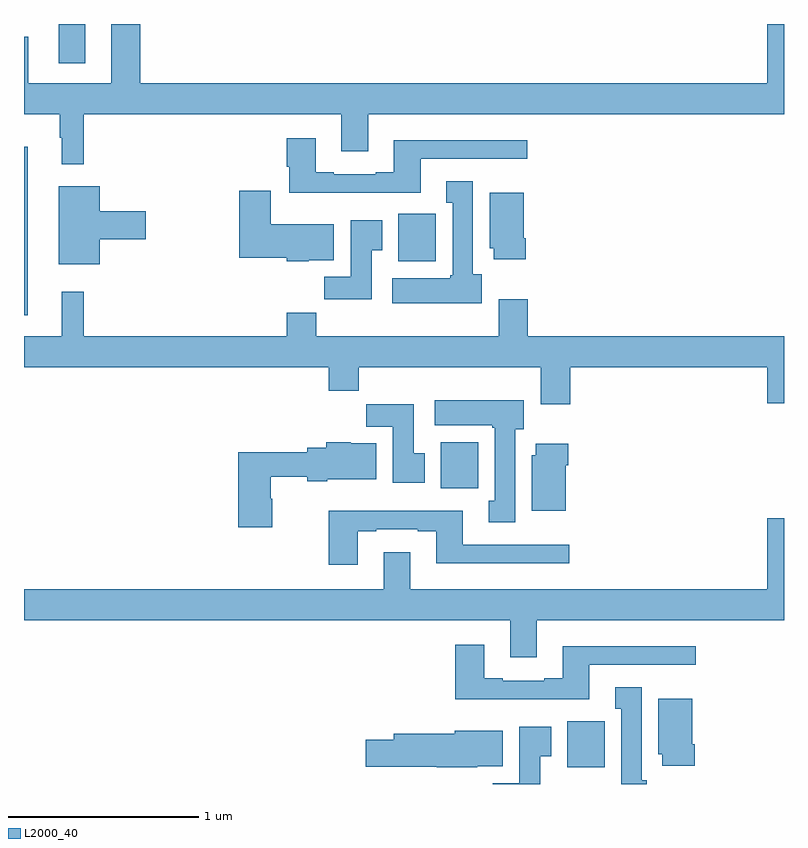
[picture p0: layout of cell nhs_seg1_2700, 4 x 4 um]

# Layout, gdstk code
import gdstk
lib = gdstk.Library(unit=1e-6, precision=1e-09)
def R(c, l, rs):  # rectangles x0, y0, x1, y1
    for r in rs: c.add(gdstk.rectangle(r[:2], r[2:], *l))
def P(c, l, *ps):  # polygons
    for p in ps: c.add(gdstk.Polygon(p, *l))
L2000_40 = (2000, 40)

nhs_seg1_2700 = lib.new_cell('nhs_seg1_2700')
R(nhs_seg1_2700, L2000_40, [(259.859,556.286,260.056,556.528), (259.193,557.756,259.39,557.998), (257,558.666,257.02,559.552), (258.971,558.95,259.167,559.201), (257.183,559.992,257.323,560.199)])
P(nhs_seg1_2700, L2000_40, [(257.315,559.724),(258.671,559.724),(258.671,559.53),(258.811,559.53),(258.811,559.724),(261,559.724),(261,560.199),(260.912,560.199),(260.912,559.888),(257.612,559.888),(257.612,560.199),(257.459,560.199),(257.459,559.888),(257.023,559.888),(257.023,560.131),(257,560.131),(257,559.724),(257.187,559.724),(257.187,559.601),(257.198,559.601),(257.198,559.461),(257.315,559.461)],
  [(259.087,559.491),(259.648,559.491),(259.648,559.588),(258.947,559.588),(258.947,559.42),(258.851,559.42),(258.851,559.407),(258.631,559.407),(258.631,559.42),(258.535,559.42),(258.535,559.597),(258.383,559.597),(258.383,559.449),(258.395,559.449),(258.395,559.31),(259.087,559.31)],
  [(259.408,558.882),(259.363,558.882),(259.363,559.372),(259.223,559.372),(259.223,559.259),(259.256,559.259),(259.256,558.876),(259.243,558.876),(259.243,558.862),(258.939,558.862),(258.939,558.728),(259.408,558.728)],
  [(257.398,559.067),(257.641,559.067),(257.641,559.214),(257.398,559.214),(257.398,559.345),(257.183,559.345),(257.183,558.935),(257.398,558.935)],
  [(258.498,558.956),(258.631,558.956),(258.631,559.144),(258.298,559.144),(258.298,559.321),(258.133,559.321),(258.133,558.968),(258.384,558.968),(258.384,558.95),(258.498,558.95)],
  [(259.642,559.072),(259.63,559.072),(259.63,559.312),(259.451,559.312),(259.451,559.02),(259.472,559.02),(259.472,558.96),(259.642,558.96)],
  [(258.829,559.009),(258.886,559.009),(258.886,559.165),(258.719,559.165),(258.719,558.868),(258.58,558.868),(258.58,558.75),(258.829,558.75)],
  [(259.874,558.392),(260.912,558.392),(260.912,558.204),(261,558.204),(261,558.556),(259.652,558.556),(259.652,558.751),(259.499,558.751),(259.499,558.556),(258.539,558.556),(258.539,558.68),(258.383,558.68),(258.383,558.556),(257.315,558.556),(257.315,558.79),(257.198,558.79),(257.198,558.556),(257,558.556),(257,558.392),(258.605,558.392),(258.605,558.268),(258.761,558.268),(258.761,558.392),(259.721,558.392),(259.721,558.198),(259.874,558.198)],
  [(259.585,558.066),(259.63,558.066),(259.63,558.22),(259.161,558.22),(259.161,558.086),(259.465,558.086),(259.465,558.073),(259.478,558.073),(259.478,557.69),(259.445,557.69),(259.445,557.577),(259.585,557.577)],
  [(259.108,557.94),(259.051,557.94),(259.051,558.199),(258.802,558.199),(258.802,558.08),(258.941,558.08),(258.941,557.784),(259.108,557.784)],
  [(258.306,557.7),(258.298,557.7),(258.298,557.815),(258.491,557.815),(258.491,557.792),(258.595,557.792),(258.595,557.804),(258.853,557.804),(258.853,557.992),(258.72,557.992),(258.72,557.998),(258.59,557.998),(258.59,557.97),(258.491,557.97),(258.491,557.944),(258.128,557.944),(258.128,557.55),(258.306,557.55)],
  [(259.852,557.876),(259.865,557.876),(259.865,557.989),(259.694,557.989),(259.694,557.928),(259.673,557.928),(259.673,557.636),(259.852,557.636)],
  [(258.757,557.529),(258.853,557.529),(258.853,557.541),(259.073,557.541),(259.073,557.529),(259.169,557.529),(259.169,557.36),(259.87,557.36),(259.87,557.457),(259.309,557.457),(259.309,557.638),(258.605,557.638),(258.605,557.352),(258.757,557.352)],
  [(259.699,557.06),(261,557.06),(261,557.599),(260.912,557.599),(260.912,557.224),(259.033,557.224),(259.033,557.419),(258.893,557.419),(258.893,557.224),(257,557.224),(257,557.06),(259.559,557.06),(259.559,556.866),(259.699,556.866)],
  [(259.975,556.827),(260.536,556.827),(260.536,556.924),(259.835,556.924),(259.835,556.756),(259.739,556.756),(259.739,556.743),(259.519,556.743),(259.519,556.756),(259.423,556.756),(259.423,556.933),(259.271,556.933),(259.271,556.646),(259.975,556.646)],
  [(260.278,556.218),(260.251,556.218),(260.251,556.708),(260.111,556.708),(260.111,556.595),(260.144,556.595),(260.144,556.199),(260.278,556.199)],
  [(260.531,556.408),(260.518,556.408),(260.518,556.648),(260.339,556.648),(260.339,556.356),(260.36,556.356),(260.36,556.296),(260.531,556.296)],
  [(259.717,556.345),(259.774,556.345),(259.774,556.501),(259.607,556.501),(259.607,556.204),(259.468,556.204),(259.468,556.199),(259.717,556.199)],
  [(259.386,556.292),(259.519,556.292),(259.519,556.48),(259.268,556.48),(259.268,556.463),(258.947,556.463),(258.947,556.433),(258.798,556.433),(258.798,556.291),(259.172,556.291),(259.172,556.286),(259.386,556.286)])

lib.write_gds('nhs_seg1_2700.gds')
